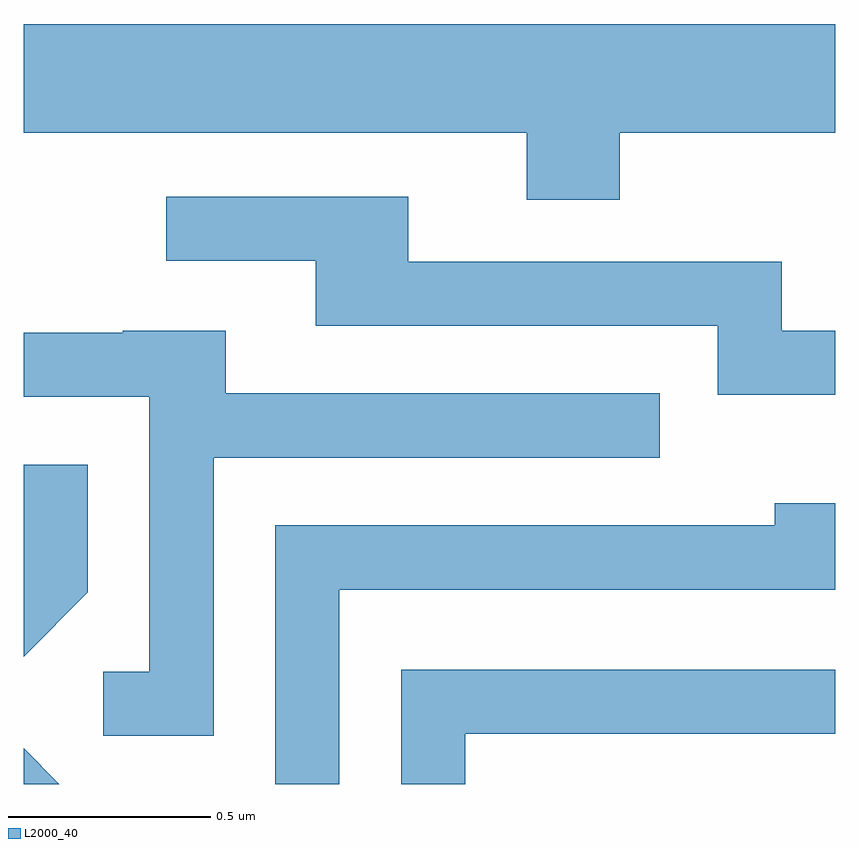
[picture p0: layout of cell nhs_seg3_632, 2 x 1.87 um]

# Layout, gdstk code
import gdstk
lib = gdstk.Library(unit=1e-6, precision=1e-09)
def P(c, l, *ps):  # polygons
    for p in ps: c.add(gdstk.Polygon(p, *l))
L2000_40 = (2000, 40)

nhs_seg3_632 = lib.new_cell('nhs_seg3_632')
P(nhs_seg3_632, L2000_40, [(191.079,1201.496),(191.611,1201.496),(191.611,1201.764),(189.611,1201.764),(189.611,1201.496),(190.851,1201.496),(190.851,1201.331),(191.079,1201.331)],
  [(191.611,1201.009),(191.479,1201.009),(191.479,1201.179),(190.559,1201.179),(190.559,1201.339),(189.963,1201.339),(189.963,1201.181),(190.331,1201.181),(190.331,1201.021),(191.321,1201.021),(191.321,1200.851),(191.611,1200.851)],
  [(190.079,1200.696),(191.178,1200.696),(191.178,1200.854),(190.109,1200.854),(190.109,1201.009),(189.855,1201.009),(189.855,1201.004),(189.611,1201.004),(189.611,1200.846),(189.921,1200.846),(189.921,1200.169),(189.808,1200.169),(189.808,1200.011),(190.079,1200.011)],
  [(189.769,1200.364),(189.769,1200.678),(189.611,1200.678),(189.611,1200.205)],
  [(190.389,1200.371),(191.611,1200.371),(191.611,1200.584),(191.461,1200.584),(191.461,1200.529),(190.231,1200.529),(190.231,1199.892),(190.389,1199.892)],
  [(190.699,1200.016),(191.611,1200.016),(191.611,1200.174),(190.541,1200.174),(190.541,1199.892),(190.699,1199.892)],
  [(189.611,1199.98),(189.611,1199.892),(189.699,1199.892)])

lib.write_gds('nhs_seg3_632.gds')
